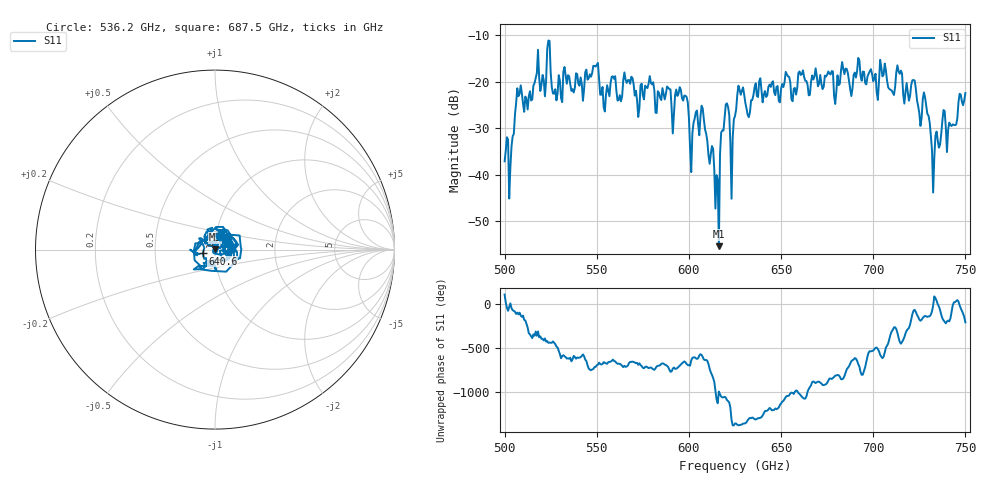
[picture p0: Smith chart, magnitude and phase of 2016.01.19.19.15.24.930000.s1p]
!Created with skrf (http://scikit-rf.org).
# GHz S RI R 50.0
!freq ReS11 ImS11
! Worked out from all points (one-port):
!   401 points, 500 GHz to 750 GHz, reference 50 ohm
!   lowest |S11| = -55.3 dB at 616.2 GHz (marker M1), VSWR 1.00, Z = 50 + j0.17 ohm
!   |S11| at or under -10 dB: start of sweep to end of sweep
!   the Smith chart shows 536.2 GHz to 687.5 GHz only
!   S11 on the Smith chart (normalised r, x): 536.2 GHz: 1.05, +0.16; 640.6 GHz: 0.87, -0.04; 687.5 GHz: 1.13, +0.12
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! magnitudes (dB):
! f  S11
! 500 GHz  -37.1
! 503.8 GHz  -33.9
! 508.1 GHz  -22.6
! 520.6 GHz  -18.6
! 523.8 GHz  -11.2
! 526.9 GHz  -22.6
! 531.2 GHz  -24.4
! 536.2 GHz  -22.0
! 549.4 GHz  -16.8
! 553.1 GHz  -21.2
! 562.5 GHz  -22.9
! 593.8 GHz  -23.1
! 598.8 GHz  -23.3
! 601.2 GHz  -39.4
! 607.5 GHz  -25.8
! 615 GHz  -40.1
! 616.2 GHz  -55.3
! 620 GHz  -24.9
! 623.1 GHz  -45.1
! 625 GHz  -27.4
! 628.1 GHz  -22.8
! 640.6 GHz  -22.8
! 656.2 GHz  -24.2
! 687.5 GHz  -21.6
! 718.8 GHz  -22.3
! 728.1 GHz  -23.4
! 732.5 GHz  -43.8
! 750 GHz  -22.5
